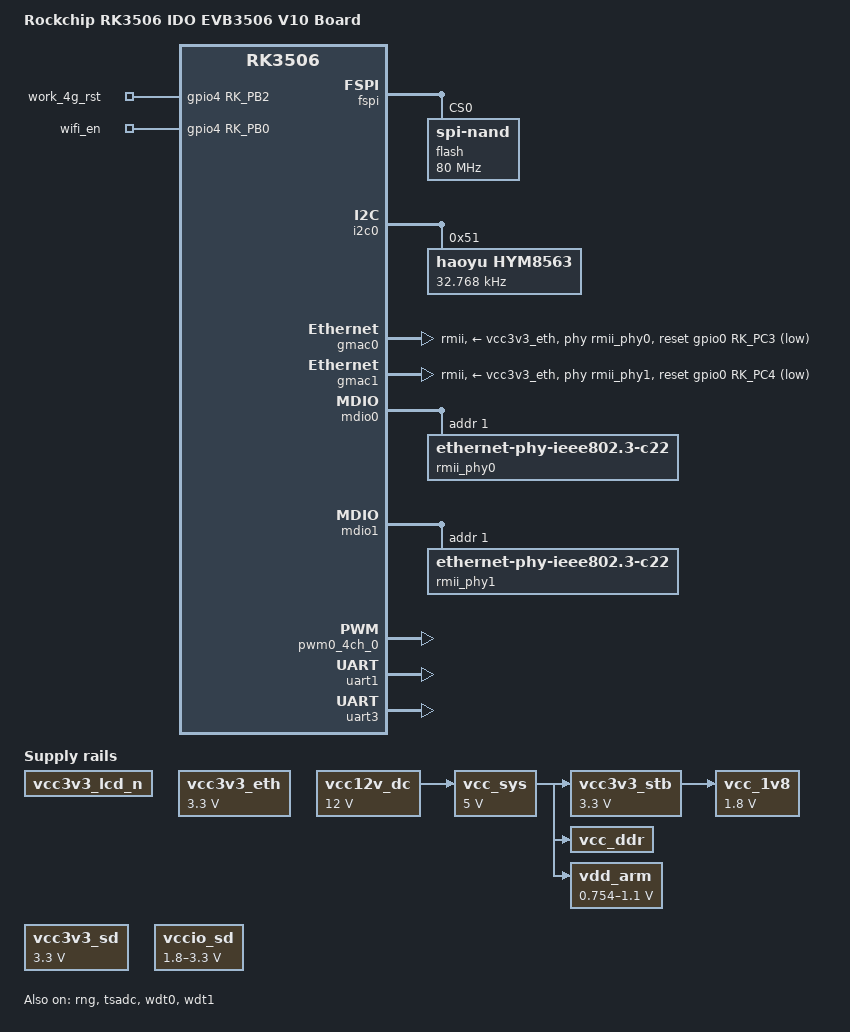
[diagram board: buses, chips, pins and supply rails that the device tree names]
// SPDX-License-Identifier: (GPL-2.0+ OR MIT)
/*
 * Copyright (c) 2024 Rockchip Electronics Co., Ltd.
 */

/dts-v1/;
#include <dt-bindings/display/drm_mipi_dsi.h>
#include <dt-bindings/input/rk-input.h>
#include <dt-bindings/suspend/rockchip-rk3506.h>
#include "rk3506.dtsi"

/ {
	model = "Rockchip RK3506 IDO EVB3506 V10 Board";
	compatible = "rockchip,ido-evb3506-v10", "rockchip,rk3506";


	chosen {
		bootargs = "earlycon=uart8250,mmio32,0xff0a0000 console=ttyFIQ0 ubi.mtd=5 root=ubi0:rootfs rw rootfstype=ubifs rootwait snd_aloop.index=7 snd_aloop.use_raw_jiffies=1 isolcpus=nohz,domain,managed_irq,2 nohz_full=2 rcu_nocbs=2 irqaffinity=0-1 rcu_nocb_poll threadirqs skew_tick=1 nowatchdog";
	};
	
	vcc3v3_lcd_n: vcc3v3-lcd0-n {
		compatible = "regulator-fixed";
		enable-active-high;
		//gpio = <&gpio0 RK_PD0 GPIO_ACTIVE_HIGH>;
		regulator-name = "vcc3v3_lcd_n";
		regulator-boot-on;
		regulator-state-mem {
				regulator-off-in-suspend;
		};
    };

	vcc3v3_eth: vcc3v3-eth-regulator {
		compatible = "regulator-fixed";
		regulator-name = "vcc3v3_eth";
		regulator-min-microvolt = <3300000>;
		regulator-max-microvolt = <3300000>;
		regulator-always-on;
		regulator-boot-on;
	};
	
	vcc5v0_otg0: vcc5v0-otg0-regulator {
		compatible = "regulator-fixed";
		regulator-name = "vcc5v0_otg0";
		regulator-min-microvolt = <5000000>;
		regulator-max-microvolt = <5000000>;
		enable-active-high;
		status = "disabled";
		//gpio = <&gpio1 RK_PC4 GPIO_ACTIVE_HIGH>;
		//pinctrl-names = "default";
		//pinctrl-0 = <&vcc5v0_otg0_en>;
    };
	
	vcc5v0_otg1: vcc5v0-otg1-regulator {
		compatible = "regulator-fixed";
		regulator-name = "vcc5v0_otg1";
		regulator-min-microvolt = <5000000>;
		regulator-max-microvolt = <5000000>;
		enable-active-high;
		status = "disabled";
		//gpio = <&gpio1 RK_PD0 GPIO_ACTIVE_HIGH>;
		//pinctrl-names = "default";
		//pinctrl-0 = <&vcc5v0_otg1_en>;
    };
		
	acodec_sound: acodec-sound {
		status = "disabled";
		compatible = "simple-audio-card";
		simple-audio-card,name = "rockchip,acodec";
		simple-audio-card,format = "i2s";
		simple-audio-card,mclk-fs = <1024>;
		simple-audio-card,bitclock-master = <&codec_master>;
		simple-audio-card,frame-master = <&codec_master>;
		simple-audio-card,cpu {
			sound-dai = <&sai4>;
		};
		codec_master: simple-audio-card,codec {
			sound-dai = <&audio_codec>;
		};
	};

	adc_keys: adc-keys {
		status = "disabled";
		compatible = "adc-keys";
		io-channels = <&saradc 1>;
		io-channel-names = "buttons";
		keyup-threshold-microvolt = <1800000>;
		poll-interval = <100>;

		vol-up-key {
			label = "volume up";
			linux,code = <KEY_VOLUMEUP>;
			press-threshold-microvolt = <16000>;
		};

		vol-down-key {
			label = "volume down";
			linux,code = <KEY_VOLUMEDOWN>;
			press-threshold-microvolt = <420000>;
		};

		menu-key {
			label = "menu";
			linux,code = <KEY_MENU>;
			press-threshold-microvolt = <800000>;
		};

		esc-key {
			label = "esc";
			linux,code = <KEY_ESC>;
			press-threshold-microvolt = <1200000>;
		};
	};

	dsm_sound: dsm-sound {
		status = "disabled";
		compatible = "simple-audio-card";
		simple-audio-card,format = "i2s";
		simple-audio-card,mclk-fs = <256>;
		simple-audio-card,name = "rockchip,dsm-sound";
		simple-audio-card,bitclock-master = <&sndcodec>;
		simple-audio-card,frame-master = <&sndcodec>;
		sndcpu: simple-audio-card,cpu {
			sound-dai = <&sai3>;
		};
		sndcodec: simple-audio-card,codec {
			sound-dai = <&acdcdig_dsm>;
		};
	};

	es8388_sound: es8388-sound {
		status = "disabled";
		compatible = "rockchip,multicodecs-card";
		rockchip,card-name = "rockchip-es8388";
		spk-con-gpio = <&gpio0 RK_PB6 GPIO_ACTIVE_HIGH>;
		rockchip,pre-power-on-delay-ms = <30>;
		rockchip,post-power-down-delay-ms = <40>;
		rockchip,format = "i2s";
		rockchip,mclk-fs = <256>;
		rockchip,cpu = <&sai1>;
		rockchip,codec = <&es8388>;
		rockchip,audio-routing =
			"Headphone", "LOUT1",
			"Headphone", "ROUT1",
			"Speaker", "LOUT2",
			"Speaker", "ROUT2",
			"Headphone", "Headphone Power",
			"Headphone", "Headphone Power",
			"Speaker", "Speaker Power",
			"Speaker", "Speaker Power",
			"RINPUT1", "Main Mic",
			"RINPUT2", "Main Mic",
			"LINPUT1", "Headset Mic",
			"LINPUT2", "Headset Mic";
		pinctrl-names = "default";
		pinctrl-0 = <&spk_ctrl>;
	};

	fiq_debugger: fiq-debugger {
		compatible = "rockchip,fiq-debugger";
		rockchip,serial-id = <0>;
		rockchip,wake-irq = <0>;
		rockchip,irq-mode-enable = <1>;
		rockchip,baudrate = <1500000>;	/* Only 115200 and 1500000 */
		interrupts = <GIC_SPI 115 IRQ_TYPE_LEVEL_HIGH>;
	};
	
	leds: leds {
		status = "okay";
		compatible = "gpio-leds";
		pinctrl-names = "default";
		pinctrl-0 = <&leds_gpio>;
		work_4g_rst: work-4g-rst {
			gpios = <&gpio4 RK_PB2 GPIO_ACTIVE_HIGH>;
			default-state = "off";
		};

		wifi_en: wifi-en {
                        gpios = <&gpio4 RK_PB0 GPIO_ACTIVE_HIGH>;
                        default-state = "off";
                };
		
    };
		
	gpio_keys: gpio-keys {
		status = "disabled";
		compatible = "gpio-keys";
		pinctrl-names = "default";
		//pinctrl-0 = <&key_wake_up>;

		wake_up: wake-up {
			label = "Wake-up";
			//gpios = <&gpio0 RK_PC1 GPIO_ACTIVE_LOW>;
			linux,code = <KEY_WAKEUP>;
			wakeup-source;
		};
	};

	vcc12v_dc: vcc12v-dc {
		compatible = "regulator-fixed";
		regulator-name = "vcc12v_dc";
		regulator-always-on;
		regulator-boot-on;
		regulator-min-microvolt = <12000000>;
		regulator-max-microvolt = <12000000>;
	};

	vcc_sys: vcc-sys {
		compatible = "regulator-fixed";
		regulator-name = "vcc_sys";
		regulator-always-on;
		regulator-boot-on;
		regulator-min-microvolt = <5000000>;
		regulator-max-microvolt = <5000000>;
		vin-supply = <&vcc12v_dc>;
	};

	vcc3v3_stb: vcc3v3-stb {
		compatible = "regulator-fixed";
		regulator-name = "vcc3v3_stb";
		regulator-always-on;
		regulator-boot-on;
		regulator-min-microvolt = <3300000>;
		regulator-max-microvolt = <3300000>;
		vin-supply = <&vcc_sys>;
	};
	
	vcc3v3_sd: vcc3v3-sd {
		compatible = "regulator-fixed";
		//gpio = <&gpio3 RK_PA6 GPIO_ACTIVE_LOW>;
		regulator-name = "vcc3v3_sd";
		regulator-min-microvolt = <3300000>;
		regulator-max-microvolt = <3300000>;
		//pinctrl-names = "default";
		//pinctrl-0 = <&sdmmc_pwren>;
	};
		
	vccio_sd: vccio-sd {
		compatible = "regulator-gpio";
		regulator-name = "vccio_sd";
		regulator-min-microvolt = <1800000>;
		regulator-max-microvolt = <3300000>;
		//gpios = <&gpio0 RK_PA0 GPIO_ACTIVE_HIGH>;
		states = <3300000 1
				  1800000 0>;
		//pinctrl-names = "default";
		//pinctrl-0 = <&sdmmc_volt>;
	};
		
	vcc_1v8: vcc-1v8 {
		compatible = "regulator-fixed";
		regulator-name = "vcc_1v8";
		regulator-always-on;
		regulator-boot-on;
		regulator-min-microvolt = <1800000>;
		regulator-max-microvolt = <1800000>;
		vin-supply = <&vcc3v3_stb>;
	};

	vcc_ddr: vcc-ddr {
		compatible = "regulator-fixed";
		regulator-name = "vcc_ddr";
		regulator-always-on;
		regulator-boot-on;
		vin-supply = <&vcc_sys>;
	};

	vdd_arm: vdd-arm {
		compatible = "pwm-regulator";
		pwms = <&pwm0_4ch_0 0 5000 1>;
		regulator-name = "vdd_arm";
		regulator-min-microvolt = <754000>;
		regulator-max-microvolt = <1100000>;
		regulator-init-microvolt = <954000>;
		regulator-always-on;
		regulator-boot-on;
		regulator-settling-time-up-us = <250>;
		pwm-supply = <&vcc_sys>;
	};

	sdio_pwrseq: sdio-pwrseq {
		compatible = "mmc-pwrseq-simple";
		pinctrl-names = "default";
		//pinctrl-0 = <&wifi_enable_h>;

		/*
		 * On the module itself this is one of these (depending
		 * on the actual card populated):
		 * - SDIO_RESET_L_WL_REG_ON
		 * - PDN (power down when low)
		 */
		//reset-gpios = <&gpio0 RK_PB7 GPIO_ACTIVE_LOW>;
	};

	wireless-bluetooth {
		compatible = "bluetooth-platdata";
		//uart_rts_gpios = <&gpio3 RK_PB5 GPIO_ACTIVE_LOW>;
		//pinctrl-names = "default", "rts_gpio";
		//pinctrl-0 = <&uart5m0_rtsn_pins>;
		//pinctrl-1 = <&uart5_gpios>;
		//BT,power_gpio    = <&gpio3 RK_PB6 GPIO_ACTIVE_HIGH>;
		status = "disabled";
	};

	wireless-wlan {
		compatible = "wlan-platdata";
		rockchip,grf = <&grf>;
		pinctrl-names = "default";
		//pinctrl-0 = <&wifi_wake_host>;
		wifi_chip_type = "cyw43455";
		//WIFI,host_wake_irq = <&gpio0 RK_PC0 GPIO_ACTIVE_HIGH>;
		status = "disabled";
	};
};

&audio_codec {
	status = "disabled";
};

&cma {
	size = <0x1600000>;
};

&cpu0 {
	cpu-supply = <&vdd_arm>;
};

&flexbus_fspi {
	pinctrl-names = "default";
	pinctrl-0 = <&flexbus0m1_pins &flexbus0_clk_pins
		     &flexbus0_d0_pins &flexbus0_d1_pins
		     &flexbus0_d2_pins &flexbus0_d3_pins>;
	status = "disabled";

	flash@0 {
		compatible = "jedec,spi-nor";
		reg = <0>;
		spi-max-frequency = <100000000>;
		spi-rx-bus-width = <4>;
		spi-tx-bus-width = <1>;
	};
};

&fspi {
	status = "okay";

	flash@0 {
		compatible = "spi-nand";
		reg = <0>;
		spi-max-frequency = <80000000>;
		spi-rx-bus-width = <4>;
		spi-tx-bus-width = <1>;
	};
};

&i2c0 {
	status = "okay";
	pinctrl-names = "default";
	pinctrl-0 = <&rm_io0_i2c0_scl
		     &rm_io1_i2c0_sda>;
	
	hym8563: hym8563@51 {
		status = "okay";
		compatible = "haoyu,hym8563";
		reg = <0x51>;
		#clock-cells = <0>;
		clock-frequency = <32768>;
		clock-output-names = "hym8563";
		pinctrl-names = "default";
		//pinctrl-0 = <&hym8563_int>;
		//interrupt-parent = <&gpio0>;
		//interrupts = <RK_PA0 IRQ_TYPE_LEVEL_LOW>;
		//wakeup-source;
	};
	
	es8388: es8388@11 {
		status = "disabled";
		#sound-dai-cells = <0>;
		compatible = "everest,es8388", "everest,es8323";
		reg = <0x11>;
		clocks = <&mclkout_sai1>;
		clock-names = "mclk";
		assigned-clocks = <&mclkout_sai1>;
		assigned-clock-rates = <12288000>;
		pinctrl-names = "default";
		pinctrl-0 = <&rm_io8_sai1_mclk>;
	};
};

&mmc {
	max-frequency = <150000000>;
	no-sdio;
	no-mmc;
	cap-mmc-highspeed;
	cap-sd-highspeed;
	cd-gpios = <&gpio4 RK_PB3 GPIO_ACTIVE_LOW>;
	disable-wp;
	//sd-uhs-sdr104;
	pinctrl-names = "default";
	pinctrl-0 = <&sdmmc_clk_pins &sdmmc_cmd_pins &sdmmc_bus4_pins &sdmmc_det>;
	//vqmmc-supply = <&vccio_sd>;
	//vmmc-supply = <&vcc3v3_sd>;
	status = "disabled";
};

&gmac0 {
	phy-mode = "rmii";
	clock_in_out = "input";
	phy-supply = <&vcc3v3_eth>;
	tx_delay = <0x00>;
	rx_delay = <0x00>;

	snps,reset-gpio = <&gpio0 RK_PC3 GPIO_ACTIVE_LOW>;
	snps,reset-active-low;
	snps,reset-delays-us = <0 20000 100000>;

	pinctrl-names = "default";
	pinctrl-0 = <&eth_rmii0_miim_pins
		     &eth_rmii0_tx_bus2_pins
		     &eth_rmii0_rx_bus2_pins
		     &eth_rmii0_clk_pins>;

	phy-handle = <&rmii_phy0>;
	status = "okay";
};

&gmac1 {
	phy-mode = "rmii";
	clock_in_out = "input";
	phy-supply = <&vcc3v3_eth>;
	tx_delay = <0x00>;
	rx_delay = <0x00>;

	snps,reset-gpio = <&gpio0 RK_PC4 GPIO_ACTIVE_LOW>;
	snps,reset-active-low;
	snps,reset-delays-us = <0 20000 100000>;

	pinctrl-names = "default";
	pinctrl-0 = <&eth_rmii1_miim_pins
		     &eth_rmii1_tx_bus2_pins
		     &eth_rmii1_rx_bus2_pins
		     &eth_rmii1_clk_pins>;

	phy-handle = <&rmii_phy1>;
	status = "okay";
};

&mdio0 {
	rmii_phy0: phy@1 {
		compatible = "ethernet-phy-ieee802.3-c22";
		reg = <0x01>;
	};
};
&mdio1 {
	rmii_phy1: phy@1 {
		compatible = "ethernet-phy-ieee802.3-c22";
		reg = <0x01>;
	};
};

&pinctrl {
	sdcard {
		sdmmc_det: sdmmc-det {
				rockchip,pins = <4 RK_PB3 RK_FUNC_GPIO &pcfg_pull_up>;
		};
    };
	
	usb {
		//vcc5v0_otg0_en: vcc5v0-otg0-en {
		//      rockchip,pins = <1 RK_PC4 RK_FUNC_GPIO &pcfg_pull_none>;
		//};
		//
		//vcc5v0_otg1_en: vcc5v0-otg1-en {
		//      rockchip,pins = <1 RK_PD0 RK_FUNC_GPIO &pcfg_pull_none>;
		//};
    };

	led {
		leds_gpio: leds-gpio {
			rockchip,pins = <4 RK_PB2 RK_FUNC_GPIO &pcfg_pull_none>;
		};
	};
	
	//sdio-pwrseq {
	//	wifi_enable_h: wifi-enable-h {
	//		rockchip,pins = <0 RK_PB7 RK_FUNC_GPIO &pcfg_pull_none>;
	//	};
	//};

	speaker {
		spk_ctrl: spk-ctrl {
			rockchip,pins = <0 RK_PB6 RK_FUNC_GPIO &pcfg_pull_none>;
		};
	};

	//wireless-bluetooth {
	//	uart5_gpios: uart5-gpios {
	//		rockchip,pins = <3 RK_PB5 RK_FUNC_GPIO &pcfg_pull_none>;
	//	};
	//};
	
	//wireless-wlan {
	//	wifi_wake_host: wifi-wake-host {
	//		rockchip,pins = <0 RK_PC0 RK_FUNC_GPIO &pcfg_pull_up>;
	//	};
	//};
	
	gmac {
		gmac0_reset: gmac0-reset {
			rockchip,pins = <0 RK_PC3 RK_FUNC_GPIO &pcfg_pull_up>;
		};
		gmac1_reset: gmac1-reset {
			rockchip,pins = <0 RK_PC4 RK_FUNC_GPIO &pcfg_pull_up>;
		};
	};
};

&pwm0_4ch_0 {
	pinctrl-names = "active";
	pinctrl-0 = <&rm_io21_pwm0_ch0>;
	status = "okay";
};

/*
&pwm0_4ch_1 {
	pinctrl-names = "active";
	pinctrl-0 = <&rm_io20_pwm0_ch1>;
	status = "okay";
};

&pwm0_4ch_2 {
	pinctrl-names = "active";
	pinctrl-0 = <&rm_io3_pwm0_ch2>;
	status = "okay";
};
*/
&rga2 {
	status = "disabled";
};

&rng {
	status = "okay";
};

&rockchip_suspend {
	rockchip,sleep-mode-config = <
		(0
		| RKPM_ARMOFF_DDRPD
		| RKPM_24M_OSC_DIS
		| RKPM_32K_CLK
		| RKPM_32K_SRC_RC
		| RKPM_PWM0_CH0_REGULATOR
		)
	>;

	rockchip,apios-suspend = <
		(0
		| RKPM_PWREN_CORE_GPIO0A2 | RKPM_PWREN_CORE_ACT_LOW
		| RKPM_PWREN_SLEEP_GPIO0A0 | RKPM_PWREN_SLEEP_ACT_LOW
		)
	>;
};

&sai1 {
	status = "disabled";
	pinctrl-names = "default";
	pinctrl-0 = <&rm_io9_sai1_sclk
		     &rm_io10_sai1_lrck
		     &rm_io11_sai1_sdi
		     &rm_io12_sai1_sdo0>;
};

&sai4 {
	status = "disabled";
};

&saradc {
	vref-supply = <&vcc_1v8>;
	status = "disabled";
};

&tsadc {
	status = "okay";
};

//232
&uart1 {
	status = "okay";
	pinctrl-names = "default";
	pinctrl-0 = <&rm_io15_uart1_tx &rm_io16_uart1_rx>;
};

//232 && 和rgb冲突
&uart2 {
	status = "disabled";
	pinctrl-names = "default";
	pinctrl-0 = <&rm_io28_uart2_rx &rm_io24_uart2_tx>;
};

//485
&uart3 {
	status = "okay";
	pinctrl-names = "default";
	pinctrl-0 = <&rm_io6_uart3_tx &rm_io7_uart3_rx &rm_io5_uart3_rtsn>;
	linux,rs485-enabled-at-boot-time;
};

//485 && 和rgb冲突 
&uart4 {
	status = "disabled";
	pinctrl-names = "default";
	pinctrl-0 = <&rm_io30_uart4_rx &rm_io31_uart4_tx &rm_io29_uart4_rtsn>;
	linux,rs485-enabled-at-boot-time;
};

//和rgb冲突
&can0 {
	assigned-clocks = <&cru CLK_CAN0>;
	assigned-clock-rates = <200000000>;
	pinctrl-0 = <&rm_io25_can0_tx &rm_io26_can0_rx>;
	pinctrl-names = "default";
	status = "disabled";
};

&can1 {
	assigned-clocks = <&cru CLK_CAN1>;
	assigned-clock-rates = <200000000>;
	pinctrl-0 = <&rm_io17_can1_tx &rm_io18_can1_rx>;
	pinctrl-names = "default";
	status = "disabled";
};

&u2phy_otg0 {
        vbus-supply = <&vcc5v0_otg0>;
        status = "disabled";
};

&u2phy_otg1 {
        phy-supply = <&vcc5v0_otg1>;
        status = "disabled";
};


&usb2phy {
	status = "disabled";
};

&usb20_otg0 {
	status = "disabled";
};

&usb20_otg1 {
	dr_mode = "host";
	status = "disabled";
};

&wdt0 {
    status = "okay";
};

&wdt1 {
    status = "okay";
};
